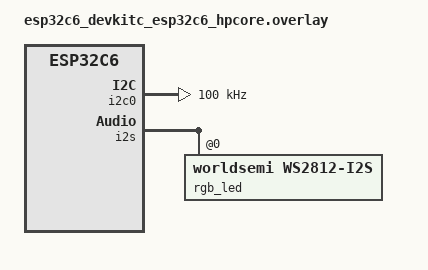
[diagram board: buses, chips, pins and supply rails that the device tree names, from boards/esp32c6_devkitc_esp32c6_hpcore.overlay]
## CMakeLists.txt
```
cmake_minimum_required(VERSION 3.20.0)

find_package(Zephyr REQUIRED HINTS $ENV{ZEPHYR_BASE})

project(mqtt_bme680_bsec)


target_sources(app PRIVATE
    src/main.c
    src/wifi_config.c
    src/sensor_bme680.c
    src/bsec_storage.c

    src/wifi_manager.c
    src/mqtt_manager.c

    external/bme68x/bme68x.c
    external/bsec/bsec_iaq.c
)


target_include_directories(app PRIVATE
    src
    external/bme68x
    external/bsec
)


add_library(bsec STATIC IMPORTED GLOBAL)

set_target_properties(bsec PROPERTIES
    IMPORTED_LOCATION
    ${CMAKE_CURRENT_SOURCE_DIR}/external/bsec/libalgobsec.a
)


target_link_libraries(app PUBLIC bsec)
```

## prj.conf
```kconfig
CONFIG_I2C=y

CONFIG_FLASH=y
CONFIG_FLASH_MAP=y
CONFIG_NVS=y

CONFIG_SETTINGS=y
CONFIG_SETTINGS_NVS=y

CONFIG_SHELL=y
CONFIG_SHELL_BACKEND_SERIAL=y
CONFIG_SHELL_BACKEND_DUMMY=n

CONFIG_SERIAL=y
CONFIG_CONSOLE=y
CONFIG_UART_CONSOLE=y

CONFIG_NETWORKING=y

CONFIG_WIFI=y
CONFIG_NET_L2_ETHERNET=y

CONFIG_NET_IPV4=y
CONFIG_NET_UDP=y
CONFIG_NET_TCP=y
CONFIG_NET_DHCPV4=y
CONFIG_NET_ARP=y

CONFIG_DNS_RESOLVER=y

CONFIG_NET_MGMT=y
CONFIG_NET_MGMT_EVENT=y
CONFIG_NET_MGMT_EVENT_STACK_SIZE=2048

CONFIG_NET_CONNECTION_MANAGER=y

CONFIG_NET_SOCKETS=y
CONFIG_NET_SOCKETS_SOCKOPT_TLS=y

CONFIG_NET_SOCKETS_TLS_CONNECT_TIMEOUT=30000
CONFIG_POSIX_API=y

CONFIG_MQTT_LIB=y
CONFIG_MQTT_LIB_TLS=y

CONFIG_TLS_CREDENTIALS=y

CONFIG_MBEDTLS=y

CONFIG_MBEDTLS_ENABLE_HEAP=y
CONFIG_MBEDTLS_HEAP_SIZE=60000

CONFIG_MBEDTLS_BASE64_C=y
CONFIG_MBEDTLS_PEM_PARSE_C=y
CONFIG_MBEDTLS_PEM_WRITE_C=y

CONFIG_MBEDTLS_ASN1_PARSE_C=y
CONFIG_MBEDTLS_PK_PARSE_C=y

CONFIG_MBEDTLS_X509_USE_C=y
CONFIG_MBEDTLS_X509_CRT_PARSE_C=y
CONFIG_MBEDTLS_SSL_SERVER_NAME_INDICATION=y
CONFIG_MBEDTLS_SSL_PROTO_TLS1_2=y

CONFIG_PSA_WANT_ALG_SHA_256=y
CONFIG_PSA_WANT_ALG_SHA_384=y

CONFIG_PSA_WANT_ALG_ECDSA=y
CONFIG_PSA_WANT_ALG_ECDH=y

CONFIG_PSA_WANT_ECC_SECP_R1_256=y
CONFIG_PSA_WANT_ECC_SECP_R1_384=y

CONFIG_PSA_WANT_KEY_TYPE_ECC_PUBLIC_KEY=y
CONFIG_PSA_WANT_KEY_TYPE_ECC_KEY_PAIR_GENERATE=y

CONFIG_PSA_WANT_KEY_TYPE_RSA_PUBLIC_KEY=y
CONFIG_PSA_WANT_KEY_TYPE_RSA_KEY_PAIR_IMPORT=y
CONFIG_PSA_WANT_ALG_RSA_PKCS1V15_SIGN=y

CONFIG_MBEDTLS_CIPHERSUITE_TLS_ECDHE_ECDSA_WITH_AES_256_GCM_SHA384=y

CONFIG_MBEDTLS_SSL_IN_CONTENT_LEN=16384
CONFIG_MBEDTLS_SSL_OUT_CONTENT_LEN=16384


CONFIG_SNTP=y
CONFIG_MAIN_STACK_SIZE=8192

CONFIG_HEAP_MEM_POOL_SIZE=16384
CONFIG_SYSTEM_WORKQUEUE_STACK_SIZE=4096

CONFIG_NET_PKT_RX_COUNT=16
CONFIG_NET_PKT_TX_COUNT=16

CONFIG_NET_BUF_RX_COUNT=32
CONFIG_NET_BUF_TX_COUNT=32

CONFIG_PRINTK=y
CONFIG_NET_LOG=y

CONFIG_LED_STRIP=y
CONFIG_I2S=y
CONFIG_DMA=y

CONFIG_JSON_LIBRARY=y
```

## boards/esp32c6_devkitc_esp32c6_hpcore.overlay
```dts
#include <zephyr/dt-bindings/led/led.h>
#include <zephyr/dt-bindings/pinctrl/esp32c6-pinctrl.h>

/ {
    aliases {
        bme680i2c = &i2c0;
        led-strip = &rgb_led;
    };
};


&pinctrl {

    i2c0_default: i2c0_default {
        group1 {
            pinmux = <I2C0_SDA_GPIO6>,
                     <I2C0_SCL_GPIO7>;
        };
    };

    i2s_ws2812_default: i2s_ws2812_default {
        group1 {
            pinmux = <I2S_O_SD_GPIO8>;
            output-enable;
        };
    };
};


&i2c0 {

    status = "okay";

    pinctrl-0 = <&i2c0_default>;
    pinctrl-names = "default";

    clock-frequency = <I2C_BITRATE_STANDARD>;
};


&i2s {

    status = "okay";

    pinctrl-0 = <&i2s_ws2812_default>;
    pinctrl-names = "default";

    dmas = <&dma 3>;
    dma-names = "tx";

    rgb_led: ws2812@0 {
        compatible = "worldsemi,ws2812-i2s";
        reg = <0>;

        chain-length = <1>;

        color-mapping = <LED_COLOR_ID_GREEN
                         LED_COLOR_ID_RED
                         LED_COLOR_ID_BLUE>;

        reset-delay = <500>;
    };
};


&dma {
    status = "okay";
};
```

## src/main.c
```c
/*
 * Pombal IoT Workshop Demo
 *
 * ESP32-C6 + BME680 + Bosch BSEC + Zephyr RTOS
 *
 * This application demonstrates an IoT environmental monitoring node based on the ESP32-C6 and Bosch BME680 sensor.
 *
 * Features:
 * - BME680 environmental sensing over I2C
 * - Bosch BSEC air-quality processing
 * - BSEC state persistence using Zephyr Settings/NVS
 * - Wi-Fi connectivity with automatic reconnection
 * - MQTT communication over TLS
 * - JSON telemetry publishing
 *
 * Hardware:
 *
 *   BME680          ESP32-C6 DevKitC
 *   VCC/VIN   --->  3V3
 *   GND       --->  GND
 *   SDA       --->  GPIO6
 *   SCL       --->  GPIO7
 *
 *
 * Bosch BSEC dependency:
 * Bosch BSEC is required to build this project but is not distributed with the project.
 * It must be obtained separately from Bosch Sensortec and used according to the applicable Bosch license terms.
 */

#include <zephyr/settings/settings.h>
#include <zephyr/shell/shell.h>
#include <zephyr/kernel.h>
#include <zephyr/sys/printk.h>
#include <zephyr/device.h>
#include <zephyr/drivers/led_strip.h>
#include <zephyr/net/tls_credentials.h>
#include <zephyr/data/json.h>
#include <zephyr/sys/util.h>

#include <stdbool.h>
#include <stdint.h>
#include <stddef.h>
#include <string.h>
#include <errno.h>

#include "wifi_config.h"
#include "sensor_bme680.h"
#include "wifi_manager.h"
#include "mqtt_manager.h"
#include "ca_cert.h"
#include "app_secrets.h"


#define TLS_SEC_TAG_ID  1

#define MQTT_SENSOR_TOPIC APP_MQTT_PUBLISH_TOPIC
#define DEVICE_ID         APP_DEVICE_ID

#define RGB_LED_NODE DT_ALIAS(led_strip)

static const struct device *const rgb_led = DEVICE_DT_GET(RGB_LED_NODE);


static const mqtt_manager_config_t my_mqtt_config = {
    .broker_address = APP_MQTT_BROKER_ADDRESS,
    .broker_port = APP_MQTT_BROKER_PORT,
    .transport = MQTT_MANAGER_TRANSPORT_TLS,
    .client_id = APP_MQTT_CLIENT_ID,
    .username = APP_MQTT_USERNAME,
    .password = APP_MQTT_PASSWORD,
    .subscribe_topic = APP_MQTT_SUBSCRIBE_TOPIC,
    .keepalive = 60,
    .qos = MQTT_QOS_1_AT_LEAST_ONCE,
    .tls_sec_tag = TLS_SEC_TAG_ID
};

static int float_to_string(
    char *buffer,
    size_t buffer_size,
    float value,
    uint8_t decimals)
{
    int32_t multiplier = 1;

    for (uint8_t i = 0; i < decimals; i++) {
        multiplier *= 10;
    }

    float scaled_f = value * (float)multiplier;
    int32_t scaled;

    if (scaled_f >= 0.0f) {
        scaled = (int32_t)(scaled_f + 0.5f);
    } else {
        scaled = (int32_t)(scaled_f - 0.5f);
    }

    bool negative = (scaled < 0);

    if (negative) {
        scaled = -scaled;
    }

    int32_t whole = scaled / multiplier;
    int32_t fraction = scaled % multiplier;

    if (decimals == 0) {
        return snprintk(
            buffer,
            buffer_size,
            "%s%d",
            negative ? "-" : "",
            whole
        );
    }

    return snprintk(
        buffer,
        buffer_size,
        "%s%d.%0*d",
        negative ? "-" : "",
        whole,
        decimals,
        fraction
    );
}


static int create_sensor_json(
    char *json,
    size_t json_size,
    const struct sensor_bme680_data *data)
{
    char temperature[24];
    char humidity[24];
    char pressure[24];
    char iaq[24];
    char co2[24];
    char bvoc[24];

    float_to_string(
        temperature,
        sizeof(temperature),
        data->temperature,
        5
    );

    float_to_string(
        humidity,
        sizeof(humidity),
        data->humidity,
        5
    );

    float_to_string(
        pressure,
        sizeof(pressure),
        data->pressure,
        4
    );

    float_to_string(
        iaq,
        sizeof(iaq),
        data->iaq,
        2
    );

    float_to_string(
        co2,
        sizeof(co2),
        data->co2_equivalent,
        2
    );

    float_to_string(
        bvoc,
        sizeof(bvoc),
        data->breath_voc_equivalent,
        3
    );

    int len = snprintk(
        json,
        json_size,

        "{"
        "\"device\":\"%s\","
        "\"temperature_c\":%s,"
        "\"humidity_pct\":%s,"
        "\"pressure_kpa\":%s,"
        "\"iaq\":%s,"
        "\"iaq_accuracy\":%u,"
        "\"co2_equivalent_ppm\":%s,"
        "\"bvoc_equivalent_ppm\":%s"
        "}",

        DEVICE_ID,
        temperature,
        humidity,
        pressure,
        iaq,
        data->iaq_accuracy,
        co2,
        bvoc
    );

    if ((len < 0) ||
        ((size_t)len >= json_size)) {
        return -ENOMEM;
    }

    return len;
}


static void print_sensor_data(
    const struct sensor_bme680_data *data)
{
    char value[24];

    printk("\n");
    printk(
        "-------- BME680 / BSEC --------\n"
    );

    float_to_string(
        value,
        sizeof(value),
        data->temperature,
        2
    );

    printk(
        "Temperature comp: %s C\n",
        value
    );

    float_to_string(
        value,
        sizeof(value),
        data->pressure,
        3
    );

    printk(
        "Pressure        : %s kPa\n",
        value
    );

    float_to_string(
        value,
        sizeof(value),
        data->humidity,
        2
    );

    printk(
        "Humidity comp   : %s %%\n",
        value
    );

    float_to_string(
        value,
        sizeof(value),
        data->gas_resistance,
        0
    );

    printk(
        "Gas resistance  : %s ohm\n",
        value
    );

    printk("\n");

    float_to_string(
        value,
        sizeof(value),
        data->iaq,
        2
    );

    printk(
        "IAQ             : %s\n",
        value
    );

    printk(
        "IAQ accuracy    : %u (%s)\n",
        data->iaq_accuracy,
        sensor_bme680_iaq_status_text(data->iaq_accuracy)
    );

    float_to_string(
        value,
        sizeof(value),
        data->co2_equivalent,
        2
    );

    printk(
        "CO2 equivalent  : %s ppm\n",
        value
    );

    float_to_string(
        value,
        sizeof(value),
        data->breath_voc_equivalent,
        3
    );

    printk(
        "Breath VOC eq   : %s ppm\n",
        value
    );

    printk(
        "--------------------------------\n"
    );
}


static int cmd_sensor_status(
    const struct shell *sh,
    size_t argc,
    char **argv)
{
    ARG_UNUSED(argc);
    ARG_UNUSED(argv);

    struct sensor_bme680_data data;

    int ret = sensor_bme680_get_data(&data);

    if (ret != 0) {
        shell_error(
            sh,
            "Sensor data not available."
        );

        return ret;
    }

    print_sensor_data(&data);

    return 0;
}


SHELL_STATIC_SUBCMD_SET_CREATE(
    sub_sensor,

    SHELL_CMD(
        status,
        NULL,
        "Show current BME680/BSEC data",
        cmd_sensor_status
    ),

    SHELL_SUBCMD_SET_END
);


SHELL_CMD_REGISTER(
    sensor,
    &sub_sensor,
    "Sensor commands",
    NULL
);


struct rgb_command {
    int32_t r;
    int32_t g;
    int32_t b;
};


static const struct json_obj_descr rgb_command_descr[] = {
    JSON_OBJ_DESCR_PRIM(
        struct rgb_command,
        r,
        JSON_TOK_NUMBER
    ),

    JSON_OBJ_DESCR_PRIM(
        struct rgb_command,
        g,
        JSON_TOK_NUMBER
    ),

    JSON_OBJ_DESCR_PRIM(
        struct rgb_command,
        b,
        JSON_TOK_NUMBER
    ),
};


static void mqtt_message_received(
    const char *topic,
    const char *payload)
{
    struct rgb_command cmd = {0};
    struct led_rgb color = {0};
    int ret;

    printk(
        "[APP] MQTT RX topic: %s\n",
        topic
    );

    printk(
        "[APP] MQTT RX payload: %s\n",
        payload
    );

    char json_buf[128];

    size_t payload_len = strlen(payload);

    if (payload_len >= sizeof(json_buf)) {
        printk(
            "[APP] RGB JSON payload too long\n"
        );

        return;
    }

    memcpy(
        json_buf,
        payload,
        payload_len + 1
    );

    int64_t parsed_fields = json_obj_parse(
        json_buf,
        payload_len,
        rgb_command_descr,
        ARRAY_SIZE(rgb_command_descr),
        &cmd
    );

    if (parsed_fields < 0) {
        printk(
            "[APP] Invalid RGB JSON: %d\n",
            (int)parsed_fields
        );

        return;
    }

    const int64_t required_fields =
        (1LL << ARRAY_SIZE(rgb_command_descr)) - 1LL;

    if ((parsed_fields & required_fields) != required_fields) {
        printk(
            "[APP] RGB JSON must contain r, g and b\n"
        );

        return;
    }

    if ((cmd.r < 0) || (cmd.r > 255) ||
        (cmd.g < 0) || (cmd.g > 255) ||
        (cmd.b < 0) || (cmd.b > 255)) {

        printk(
            "[APP] RGB values out of range\n"
        );

        return;
    }

    color.r = (uint8_t)cmd.r;
    color.g = (uint8_t)cmd.g;
    color.b = (uint8_t)cmd.b;

    ret = led_strip_update_rgb(
        rgb_led,
        &color,
        1
    );

    if (ret != 0) {
        printk(
            "[APP] RGB LED update FAILED: %d\n",
            ret
        );

        return;
    }

    printk(
        "[APP] RGB LED -> R:%d G:%d B:%d\n",
        (int)cmd.r,
        (int)cmd.g,
        (int)cmd.b
    );
}


int main(void)
{
    int ret;

    ret = settings_subsys_init();

    if (ret != 0) {
        printk(
            "[APP] Settings initialization FAILED: %d\n",
            ret
        );

        return ret;
    }

    ret = wifi_config_init();

    if (ret != 0) {
        printk(
            "[APP] WiFi configuration initialization FAILED: %d\n",
            ret
        );

        return ret;
    }

    if (!device_is_ready(rgb_led)) {
        printk(
            "[APP] RGB LED device NOT READY\n"
        );

        return -ENODEV;
    }

    printk(
        "[APP] RGB LED READY\n"
    );

    struct led_rgb off = {
        .r = 0,
        .g = 0,
        .b = 0
    };

    ret = led_strip_update_rgb(
        rgb_led,
        &off,
        1
    );

    if (ret != 0) {
        printk(
            "[APP] RGB LED initialization FAILED: %d\n",
            ret
        );

        return ret;
    }

    printk("\n");

    printk(
        "========================================\n"
    );

    printk(
        " ESP32-C6 + BME680 + BSEC + WiFi + MQTT\n"
    );

    printk(
        "========================================\n"
    );

    ret = sensor_bme680_init();

    if (ret != 0) {
        printk(
            "[APP] BME680/BSEC initialization FAILED: %d\n",
            ret
        );

        return ret;
    }

    printk(
        "[APP] BME680/BSEC READY\n"
    );

    printk(
        "[APP] Starting WiFi manager...\n"
    );

    wifi_manager_init();

    if (my_mqtt_config.transport ==
        MQTT_MANAGER_TRANSPORT_TLS) {

        ret = tls_credential_add(
            TLS_SEC_TAG_ID,
            TLS_CREDENTIAL_CA_CERTIFICATE,
            ca_certificate,
            sizeof(ca_certificate)
        );

        if ((ret < 0) &&
            (ret != -EALREADY)) {

            printk(
                "[APP] Failed to add CA certificate: %d\n",
                ret
            );

            return ret;
        }

        printk(
            "[APP] CA certificate registered on tag %d\n",
            TLS_SEC_TAG_ID
        );
    }

    mqtt_manager_set_message_callback(
        mqtt_message_received
    );

    ret = mqtt_manager_init(
        &my_mqtt_config
    );

    if (ret != 0) {
        printk(
            "[APP] MQTT manager initialization FAILED: %d\n",
            ret
        );

        return ret;
    }

    printk(
        "[APP] MQTT manager started\n"
    );

    printk("\n");

    printk(
        "[APP] Application running...\n"
    );

    printk("\n");

    char json[512];

    while (1) {

        ret = sensor_bme680_update();

        if (ret < 0) {
            printk(
                "[APP] sensor_bme680_update ERROR: %d\n",
                ret
            );

            k_sleep(
                K_MSEC(500)
            );

            continue;
        }

        if (ret > 0) {

            struct sensor_bme680_data data;

            ret = sensor_bme680_get_data(&data);

            if (ret != 0) {
                printk(
                    "[APP] Sensor snapshot unavailable: %d\n",
                    ret
                );

                sensor_bme680_clear_new_data_flag();
                continue;
            }

            if (mqtt_manager_is_ready()) {

                int json_len =
                    create_sensor_json(
                        json,
                        sizeof(json),
                        &data
                    );

                if (json_len < 0) {

                    printk(
                        "[APP] JSON creation FAILED: %d\n",
                        json_len
                    );

                } else {

                    ret = mqtt_manager_publish(
                        MQTT_SENSOR_TOPIC,
                        json
                    );

                    if (ret != 0) {
                        printk(
                            "[APP] MQTT publish queue FAILED: %d\n",
                            ret
                        );
                    }
                }
            }

            sensor_bme680_clear_new_data_flag();
        }

        k_sleep(
            K_MSEC(20)
        );
    }

    return 0;
}
```

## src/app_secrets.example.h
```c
#ifndef APP_SECRETS_H_
#define APP_SECRETS_H_


#define APP_DEVICE_ID              "pombal-esp32-01"
#define APP_MQTT_BROKER_ADDRESS    "broker.example.com"
#define APP_MQTT_BROKER_PORT       8883
#define APP_MQTT_CLIENT_ID         APP_DEVICE_ID
#define APP_MQTT_USERNAME          "CHANGE_ME"
#define APP_MQTT_PASSWORD          "CHANGE_ME"
#define APP_MQTT_SUBSCRIBE_TOPIC   "zephyr/test"

#endif
```

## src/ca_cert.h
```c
#ifndef CA_CERTIFICATE_H_
#define CA_CERTIFICATE_H_

static const char ca_certificate[] =
"-----BEGIN CERTIFICATE-----\n"
"MIIFazCCA1OgAwIBAgIRAIIQz7DSQONZRGPgu2OCiwAwDQYJKoZIhvcNAQELBQAw\n"
"TzELMAkGA1UEBhMCVVMxKTAnBgNVBAoTIEludGVybmV0IFNlY3VyaXR5IFJlc2Vh\n"
"cmNoIEdyb3VwMRUwEwYDVQQDEwxJU1JHIFJvb3QgWDEwHhcNMTUwNjA0MTEwNDM4\n"
"WhcNMzUwNjA0MTEwNDM4WjBPMQswCQYDVQQGEwJVUzEpMCcGA1UEChMgSW50ZXJu\n"
"ZXQgU2VjdXJpdHkgUmVzZWFyY2ggR3JvdXAxFTATBgNVBAMTDElTUkcgUm9vdCBY\n"
"MTCCAiIwDQYJKoZIhvcNAQEBBQADggIPADCCAgoCggIBAK3oJHP0FDfzm54rVygc\n"
"h77ct984kIxuPOZXoHj3dcKi/vVqbvYATyjb3miGbESTtrFj/RQSa78f0uoxmyF+\n"
"0TM8ukj13Xnfs7j/EvEhmkvBioZxaUpmZmyPfjxwv60pIgbz5MDmgK7iS4+3mX6U\n"
"A5/TR5d8mUgjU+g4rk8Kb4Mu0UlXjIB0ttov0DiNewNwIRt18jA8+o+u3dpjq+sW\n"
"T8KOEUt+zwvo/7V3LvSye0rgTBIlDHCNAymg4VMk7BPZ7hm/ELNKjD+Jo2FR3qyH\n"
"B5T0Y3HsLuJvW5iB4YlcNHlsdu87kGJ55tukmi8mxdAQ4Q7e2RCOFvu396j3x+UC\n"
"B5iPNgiV5+I3lg02dZ77DnKxHZu8A/lJBdiB3QW0KtZB6awBdpUKD9jf1b0SHzUv\n"
"KBds0pjBqAlkd25HN7rOrFleaJ1/ctaJxQZBKT5ZPt0m9STJEadao0xAH0ahmbWn\n"
"OlFuhjuefXKnEgV4We0+UXgVCwOPjdAvBbI+e0ocS3MFEvzG6uBQE3xDk3SzynTn\n"
"jh8BCNAw1FtxNrQHusEwMFxIt4I7mKZ9YIqioymCzLq9gwQbooMDQaHWBfEbwrbw\n"
"qHyGO0aoSCqI3Haadr8faqU9GY/rOPNk3sgrDQoo//fb4hVC1CLQJ13hef4Y53CI\n"
"rU7m2Ys6xt0nUW7/vGT1M0NPAgMBAAGjQjBAMA4GA1UdDwEB/wQEAwIBBjAPBgNV\n"
"HRMBAf8EBTADAQH/MB0GA1UdDgQWBBR5tFnme7bl5AFzgAiIyBpY9umbbjANBgkq\n"
"hkiG9w0BAQsFAAOCAgEAVR9YqbyyqFDQDLHYGmkgJykIrGF1XIpu+ILlaS/V9lZL\n"
"ubhzEFnTIZd+50xx+7LSYK05qAvqFyFWhfFQDlnrzuBZ6brJFe+GnY+EgPbk6ZGQ\n"
"3BebYhtF8GaV0nxvwuo77x/Py9auJ/GpsMiu/X1+mvoiBOv/2X/qkSsisRcOj/KK\n"
"NFtY2PwByVS5uCbMiogziUwthDyC3+6WVwW6LLv3xLfHTjuCvjHIInNzktHCgKQ5\n"
"ORAzI4JMPJ+GslWYHb4phowim57iaztXOoJwTdwJx4nLCgdNbOhdjsnvzqvHu7Ur\n"
"TkXWStAmzOVyyghqpZXjFaH3pO3JLF+l+/+sKAIuvtd7u+Nxe5AW0wdeRlN8NwdC\n"
"jNPElpzVmbUq4JUagEiuTDkHzsxHpFKVK7q4+63SM1N95R1NbdWhscdCb+ZAJzVc\n"
"oyi3B43njTOQ5yOf+1CceWxG1bQVs5ZufpsMljq4Ui0/1lvh+wjChP4kqKOJ2qxq\n"
"4RgqsahDYVvTH9w7jXbyLeiNdd8XM2w9U/t7y0Ff/9yi0GE44Za4rF2LN9d11TPA\n"
"mRGunUHBcnWEvgJBQl9nJEiU0Zsnvgc/ubhPgXRR4Xq37Z0j4r7g1SgEEzwxA57d\n"
"emyPxgcYxn/eR44/KJ4EBs+lVDR3veyJm+kXQ99b21/+jh5Xos1AnX5iItreGCc=\n"
"-----END CERTIFICATE-----\n";

#endif
```

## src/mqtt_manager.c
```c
#include <zephyr/kernel.h>
#include <zephyr/sys/atomic.h>
#include <zephyr/sys/printk.h>
#include <zephyr/net/socket.h>
#include <zephyr/net/net_ip.h>
#include <zephyr/net/mqtt.h>
#include <zephyr/net/tls_credentials.h>

#include <string.h>
#include <errno.h>

#include "mqtt_manager.h"
#include "wifi_manager.h"

#define MQTT_THREAD_STACK_SIZE      4096
#define MQTT_THREAD_PRIORITY        7
#define MQTT_RECONNECT_DELAY_SEC    5
#define MQTT_CONNECT_TIMEOUT_MS     15000
#define MQTT_SUBACK_TIMEOUT_MS      10000
#define MQTT_RX_PAYLOAD_MAX         127
#define MQTT_RX_TOPIC_MAX           127
#define MQTT_DISCARD_CHUNK_SIZE     64
#define MQTT_RX_TIMEOUT_MS          5000
#define MQTT_RX_RETRY_MS            10

typedef struct {
    char topic[64];
    char payload[512];
} mqtt_msg_t;

K_MSGQ_DEFINE(mqtt_msgq, sizeof(mqtt_msg_t), 8, 4);

static struct mqtt_client client;
static struct sockaddr_storage broker;
static uint8_t rx_buffer[1024];
static uint8_t tx_buffer[1024];
static struct mqtt_utf8 mqtt_user;
static struct mqtt_utf8 mqtt_pass;
static mqtt_manager_config_t mqtt_cfg;
static struct zsock_pollfd fds[1];
static atomic_t mqtt_state = ATOMIC_INIT(MQTT_STATE_DISCONNECTED);
static atomic_t reset_requested = ATOMIC_INIT(0);
static int64_t state_since_ms;
static uint16_t global_message_id;
static uint16_t subscription_message_id;
static bool client_active;
static mqtt_manager_message_cb_t message_callback;

#if defined(CONFIG_MQTT_LIB_TLS)
static sec_tag_t secure_tag_list[1];
#endif

static int connect_to_broker(void);
static int subscribe_topic(void);

static mqtt_manager_state_t get_state(void)
{
    return (mqtt_manager_state_t)atomic_get(&mqtt_state);
}

static void set_state(mqtt_manager_state_t state)
{
    atomic_set(&mqtt_state, (atomic_val_t)state);
    state_since_ms = k_uptime_get();
}

static uint16_t next_message_id(void)
{
    global_message_id++;

    if (global_message_id == 0U) {
        global_message_id = 1U;
    }

    return global_message_id;
}

static void request_reset(void)
{
    atomic_set(&reset_requested, 1);
}

static void mqtt_cleanup(void)
{
    if (client_active) {
        int ret = mqtt_abort(&client);

        if ((ret != 0) && (ret != -ENOTCONN)) {
            printk("[MQTT MGMT] mqtt_abort returned: %d\n", ret);
        }

        client_active = false;
    }

    fds[0].fd = -1;
    fds[0].events = 0;
    fds[0].revents = 0;

    k_msgq_purge(&mqtt_msgq);
}

static int read_publish_payload_until(
    struct mqtt_client *cl, uint8_t *buffer, size_t length,
    int64_t deadline_ms)
{
    size_t received = 0U;

    while (received < length) {
        int64_t remaining_ms = deadline_ms - k_uptime_get();

        if (remaining_ms <= 0) {
            return -ETIMEDOUT;
        }

        int ret = mqtt_read_publish_payload(cl, buffer + received,
                                            length - received);

        if (ret > 0) {
            received += (size_t)ret;
            continue;
        }

        if (ret == 0) {
            return -ENOTCONN;
        }

        if ((ret != -EAGAIN) && (ret != -EWOULDBLOCK)) {
            return ret;
        }

        remaining_ms = deadline_ms - k_uptime_get();
        if (remaining_ms <= 0) {
            return -ETIMEDOUT;
        }

        k_sleep(K_MSEC(MIN(remaining_ms, (int64_t)MQTT_RX_RETRY_MS)));
    }

    return 0;
}

static int discard_publish_payload(
    struct mqtt_client *cl, size_t length, int64_t deadline_ms)
{
    uint8_t discard[MQTT_DISCARD_CHUNK_SIZE];
    size_t remaining = length;

    while (remaining > 0U) {
        size_t chunk = MIN(remaining, sizeof(discard));
        int ret = read_publish_payload_until(cl, discard, chunk, deadline_ms);

        if (ret != 0) {
            return ret;
        }

        remaining -= chunk;
    }

    return 0;
}

static int acknowledge_incoming_publish(
    struct mqtt_client *cl,
    const struct mqtt_publish_param *pub)
{
    if (pub->message.topic.qos != MQTT_QOS_1_AT_LEAST_ONCE) {
        return 0;
    }

    struct mqtt_puback_param ack = {
        .message_id = pub->message_id
    };

    int ret = mqtt_publish_qos1_ack(cl, &ack);

    if (ret != 0) {
        printk("[MQTT MGMT] Failed to send PUBACK: %d\n", ret);
    }

    return ret;
}

static int handle_incoming_publish(
    struct mqtt_client *cl,
    const struct mqtt_publish_param *pub)
{
    uint8_t payload[MQTT_RX_PAYLOAD_MAX + 1U];
    char topic[MQTT_RX_TOPIC_MAX + 1U];
    size_t payload_len = pub->message.payload.len;
    size_t topic_len = pub->message.topic.topic.size;
    int64_t deadline_ms = k_uptime_get() + MQTT_RX_TIMEOUT_MS;
    int ret;

    if (payload_len > MQTT_RX_PAYLOAD_MAX) {
        ret = discard_publish_payload(cl, payload_len, deadline_ms);

        if (ret != 0) {
            printk("[MQTT MGMT] Failed to discard oversized payload: %d\n", ret);
            return ret;
        }

        printk("[MQTT MGMT] RX payload too large (%u bytes), discarded\n",
               (unsigned int)payload_len);

        return acknowledge_incoming_publish(cl, pub);
    }

    if (payload_len > 0U) {
        ret = read_publish_payload_until(cl, payload, payload_len, deadline_ms);

        if (ret != 0) {
            printk("[MQTT MGMT] Failed to read publish payload: %d\n", ret);
            return ret;
        }
    }

    payload[payload_len] = '\0';

    if (topic_len > MQTT_RX_TOPIC_MAX) {
        printk("[MQTT MGMT] RX topic too long (%u bytes), message ignored\n",
               (unsigned int)topic_len);

        return acknowledge_incoming_publish(cl, pub);
    }

    memcpy(topic, pub->message.topic.topic.utf8, topic_len);
    topic[topic_len] = '\0';

    printk("[MQTT MGMT] RX Topic: %s, Payload: %s\n", topic, payload);

    if (message_callback != NULL) {
        message_callback(topic, (const char *)payload);
    }

    return acknowledge_incoming_publish(cl, pub);
}

static void mqtt_evt_handler(
    struct mqtt_client *const cl,
    const struct mqtt_evt *evt)
{
    switch (evt->type) {
    case MQTT_EVT_CONNACK:
        if (evt->result == 0) {
            set_state(MQTT_STATE_CONNECTED);
            printk("[MQTT MGMT] CONNACK received. Subscribing...\n");

            int ret = subscribe_topic();

            if (ret != 0) {
                printk("[MQTT MGMT] Subscribe failed (%d)\n", ret);
                request_reset();
            }
        } else {
            printk("[MQTT MGMT] CONNACK error: %d\n", evt->result);
            request_reset();
        }
        break;

    case MQTT_EVT_SUBACK:
        if (evt->result != 0) {
            printk("[MQTT MGMT] SUBACK error: %d\n", evt->result);
            request_reset();
            break;
        }

        if (evt->param.suback.message_id != subscription_message_id) {
            printk("[MQTT MGMT] Unexpected SUBACK message id: %u\n",
                   evt->param.suback.message_id);
            request_reset();
            break;
        }

        if ((evt->param.suback.return_codes.data == NULL) ||
            (evt->param.suback.return_codes.len == 0U) ||
            (evt->param.suback.return_codes.data[0] == MQTT_SUBACK_FAILURE)) {
            printk("[MQTT MGMT] Subscription rejected by broker\n");
            request_reset();
            break;
        }

        set_state(MQTT_STATE_READY);
        printk("[MQTT MGMT] SUBACK received. State -> READY\n");
        break;

    case MQTT_EVT_PUBLISH:
        if (handle_incoming_publish(cl, &evt->param.publish) != 0) {
            request_reset();
        }
        break;

    case MQTT_EVT_PUBACK:
        if (evt->result != 0) {
            printk("[MQTT MGMT] PUBACK error from broker: %d\n", evt->result);
        }
        break;

    case MQTT_EVT_PINGRESP:
        break;

    case MQTT_EVT_DISCONNECT:
        client_active = false;
        fds[0].fd = -1;
        fds[0].events = 0;
        fds[0].revents = 0;
        k_msgq_purge(&mqtt_msgq);
        set_state(MQTT_STATE_DISCONNECTED);
        printk("[MQTT MGMT] Disconnected (reason: %d)\n", evt->result);
        break;

    default:
        break;
    }
}

static int broker_init(void)
{
    struct zsock_addrinfo hints = {0};
    struct zsock_addrinfo *res = NULL;
    char port_str[6];

    hints.ai_family = AF_INET;
    hints.ai_socktype = SOCK_STREAM;

    snprintk(port_str, sizeof(port_str), "%u", mqtt_cfg.broker_port);

    printk("[MQTT MGMT] Resolving broker via DNS: %s:%s\n",
           mqtt_cfg.broker_address,
           port_str);

    int ret = zsock_getaddrinfo(
        mqtt_cfg.broker_address,
        port_str,
        &hints,
        &res
    );

    if (ret != 0) {
        printk("[MQTT MGMT] DNS resolution failed: %d\n", ret);
        return ret;
    }

    if ((res == NULL) || (res->ai_addrlen > sizeof(broker))) {
        if (res != NULL) {
            zsock_freeaddrinfo(res);
        }

        return -EOVERFLOW;
    }

    memset(&broker, 0, sizeof(broker));
    memcpy(&broker, res->ai_addr, res->ai_addrlen);
    zsock_freeaddrinfo(res);

    printk("[MQTT MGMT] Broker resolved successfully.\n");
    return 0;
}

static int mqtt_setup(void)
{
    mqtt_client_init(&client);

    client.broker = &broker;
    client.evt_cb = mqtt_evt_handler;
    client.client_id.utf8 = (uint8_t *)mqtt_cfg.client_id;
    client.client_id.size = strlen(mqtt_cfg.client_id);

    if (mqtt_cfg.username != NULL) {
        mqtt_user.utf8 = (uint8_t *)mqtt_cfg.username;
        mqtt_user.size = strlen(mqtt_cfg.username);
        client.user_name = &mqtt_user;
    } else {
        client.user_name = NULL;
    }

    if (mqtt_cfg.password != NULL) {
        mqtt_pass.utf8 = (uint8_t *)mqtt_cfg.password;
        mqtt_pass.size = strlen(mqtt_cfg.password);
        client.password = &mqtt_pass;
    } else {
        client.password = NULL;
    }

    client.protocol_version = MQTT_VERSION_3_1_1;
    client.clean_session = 1U;
    client.keepalive = mqtt_cfg.keepalive;
    client.rx_buf = rx_buffer;
    client.rx_buf_size = sizeof(rx_buffer);
    client.tx_buf = tx_buffer;
    client.tx_buf_size = sizeof(tx_buffer);

    if (mqtt_cfg.transport == MQTT_MANAGER_TRANSPORT_TLS) {
#if defined(CONFIG_MQTT_LIB_TLS)
        secure_tag_list[0] = mqtt_cfg.tls_sec_tag;

        client.transport.type = MQTT_TRANSPORT_SECURE;
        client.transport.tls.config.peer_verify = TLS_PEER_VERIFY_REQUIRED;
        client.transport.tls.config.sec_tag_list = secure_tag_list;
        client.transport.tls.config.sec_tag_count = 1;
        client.transport.tls.config.hostname = mqtt_cfg.broker_address;
#else
        printk("[MQTT MGMT] ERROR: TLS requested but CONFIG_MQTT_LIB_TLS is disabled\n");
        return -ENOTSUP;
#endif
    } else {
        client.transport.type = MQTT_TRANSPORT_NON_SECURE;
    }

    return 0;
}

static int connect_to_broker(void)
{
    int ret = broker_init();

    if (ret != 0) {
        return ret;
    }

    ret = mqtt_setup();

    if (ret != 0) {
        return ret;
    }

    ret = mqtt_connect(&client);

    if (ret != 0) {
        printk("[MQTT MGMT] mqtt_connect failed: %d\n", ret);
        return ret;
    }

    client_active = true;

#if defined(CONFIG_MQTT_LIB_TLS)
    if (client.transport.type == MQTT_TRANSPORT_SECURE) {
        fds[0].fd = client.transport.tls.sock;
    } else {
        fds[0].fd = client.transport.tcp.sock;
    }
#else
    fds[0].fd = client.transport.tcp.sock;
#endif

    fds[0].events = ZSOCK_POLLIN;
    fds[0].revents = 0;

    printk("[MQTT MGMT] Connection initiated. Waiting for CONNACK...\n");
    return 0;
}

static int subscribe_topic(void)
{
    struct mqtt_topic topic = {
        .topic = {
            .utf8 = (uint8_t *)mqtt_cfg.subscribe_topic,
            .size = strlen(mqtt_cfg.subscribe_topic),
        },
        .qos = mqtt_cfg.qos,
    };

    subscription_message_id = next_message_id();

    struct mqtt_subscription_list list = {
        .list = &topic,
        .list_count = 1,
        .message_id = subscription_message_id,
    };

    return mqtt_subscribe(&client, &list);
}

static int execute_publish(const char *topic, const char *payload)
{
    struct mqtt_publish_param param = {0};

    param.message.topic.topic.utf8 = (uint8_t *)topic;
    param.message.topic.topic.size = strlen(topic);
    param.message.topic.qos = mqtt_cfg.qos;
    param.message.payload.data = (uint8_t *)payload;
    param.message.payload.len = strlen(payload);
    param.message_id =
        (mqtt_cfg.qos == MQTT_QOS_0_AT_MOST_ONCE) ? 0U : next_message_id();
    param.dup_flag = 0U;
    param.retain_flag = 0U;

    return mqtt_publish(&client, &param);
}

bool mqtt_manager_is_ready(void)
{
    return (get_state() == MQTT_STATE_READY);
}

void mqtt_manager_set_message_callback(mqtt_manager_message_cb_t callback)
{
    message_callback = callback;
}

mqtt_manager_state_t mqtt_manager_get_state(void)
{
    return get_state();
}

int mqtt_manager_publish(const char *topic, const char *payload)
{
    if ((topic == NULL) || (payload == NULL)) {
        return -EINVAL;
    }

    if (get_state() != MQTT_STATE_READY) {
        return -ENOTCONN;
    }

    size_t topic_len = strlen(topic);
    size_t payload_len = strlen(payload);

    if ((topic_len == 0U) || (topic_len >= sizeof(((mqtt_msg_t *)0)->topic))) {
        return -EMSGSIZE;
    }

    if (payload_len >= sizeof(((mqtt_msg_t *)0)->payload)) {
        return -EMSGSIZE;
    }

    mqtt_msg_t msg;

    memcpy(msg.topic, topic, topic_len + 1U);
    memcpy(msg.payload, payload, payload_len + 1U);

    return k_msgq_put(&mqtt_msgq, &msg, K_NO_WAIT);
}

static bool state_timeout_expired(mqtt_manager_state_t state)
{
    int64_t elapsed = k_uptime_get() - state_since_ms;

    if (state == MQTT_STATE_CONNECTING) {
        return elapsed >= MQTT_CONNECT_TIMEOUT_MS;
    }

    if (state == MQTT_STATE_CONNECTED) {
        return elapsed >= MQTT_SUBACK_TIMEOUT_MS;
    }

    return false;
}

static void mqtt_manager_thread(void *p1, void *p2, void *p3)
{
    ARG_UNUSED(p1);
    ARG_UNUSED(p2);
    ARG_UNUSED(p3);

    mqtt_msg_t outbound_msg;

    while (1) {
        if (!wifi_manager_is_ready()) {
            if ((get_state() != MQTT_STATE_DISCONNECTED) || client_active) {
                printk("[MQTT MGMT] WiFi lost. Resetting state...\n");
                mqtt_cleanup();
                set_state(MQTT_STATE_DISCONNECTED);
            }

            k_sleep(K_SECONDS(2));
            continue;
        }

        mqtt_manager_state_t state = get_state();

        if (state == MQTT_STATE_DISCONNECTED) {
            printk("[MQTT MGMT] Connecting to broker...\n");
            set_state(MQTT_STATE_CONNECTING);

            if (connect_to_broker() != 0) {
                mqtt_cleanup();
                set_state(MQTT_STATE_DISCONNECTED);
                k_sleep(K_SECONDS(MQTT_RECONNECT_DELAY_SEC));
                continue;
            }

            /*
             * DNS resolution and TCP/TLS setup can take a while.
             * Start the CONNACK timeout only after mqtt_connect()
             * has successfully initiated the MQTT connection.
             */
            set_state(MQTT_STATE_CONNECTING);
            continue;
        }

        if (state_timeout_expired(state)) {
            printk("[MQTT MGMT] State timeout while waiting for %s\n",
                   state == MQTT_STATE_CONNECTING ? "CONNACK" : "SUBACK");
            mqtt_cleanup();
            set_state(MQTT_STATE_DISCONNECTED);
            k_sleep(K_SECONDS(MQTT_RECONNECT_DELAY_SEC));
            continue;
        }

        int poll_ret = zsock_poll(fds, 1, 50);

        if ((poll_ret < 0) ||
            (fds[0].revents & (ZSOCK_POLLERR | ZSOCK_POLLHUP | ZSOCK_POLLNVAL))) {
            printk("[MQTT MGMT] Socket dead or disconnected. State -> DISCONNECTED\n");
            mqtt_cleanup();
            set_state(MQTT_STATE_DISCONNECTED);
            continue;
        }

        if ((poll_ret > 0) && (fds[0].revents & ZSOCK_POLLIN)) {
            int input_ret = mqtt_input(&client);

            if (input_ret != 0) {
                printk("[MQTT MGMT] mqtt_input failed (%d). State -> DISCONNECTED\n",
                       input_ret);
                mqtt_cleanup();
                set_state(MQTT_STATE_DISCONNECTED);
                continue;
            }
        }

        if (atomic_cas(&reset_requested, 1, 0)) {
            mqtt_cleanup();
            set_state(MQTT_STATE_DISCONNECTED);
            continue;
        }

        if (get_state() == MQTT_STATE_READY) {
            if (k_msgq_get(&mqtt_msgq, &outbound_msg, K_NO_WAIT) == 0) {
                int pub_ret = execute_publish(
                    outbound_msg.topic,
                    outbound_msg.payload
                );

                if (pub_ret != 0) {
                    printk("[MQTT MGMT] Publish failed: %d\n", pub_ret);
                }
            }

            int live_ret = mqtt_live(&client);

            if ((live_ret != 0) && (live_ret != -EAGAIN)) {
                printk("[MQTT MGMT] Keep-alive error (%d). State -> DISCONNECTED\n",
                       live_ret);
                mqtt_cleanup();
                set_state(MQTT_STATE_DISCONNECTED);
                continue;
            }
        }

        k_sleep(K_MSEC(50));
    }
}

K_THREAD_STACK_DEFINE(mqtt_stack, MQTT_THREAD_STACK_SIZE);
static struct k_thread mqtt_thread_data;

int mqtt_manager_init(const mqtt_manager_config_t *cfg)
{
    if (cfg == NULL) {
        return -EINVAL;
    }

    if ((cfg->broker_port == 0U) ||
        (cfg->keepalive == 0U) ||
        (cfg->broker_address == NULL) ||
        (cfg->client_id == NULL) ||
        (cfg->subscribe_topic == NULL)) {
        return -EINVAL;
    }

    if ((cfg->qos != MQTT_QOS_0_AT_MOST_ONCE) &&
        (cfg->qos != MQTT_QOS_1_AT_LEAST_ONCE)) {
        printk("[MQTT MGMT] Only QoS 0 and QoS 1 are supported by this manager.\n");
        return -ENOTSUP;
    }

    if (cfg->transport == MQTT_MANAGER_TRANSPORT_TLS) {
        if (cfg->tls_sec_tag < 0) {
            printk("[MQTT MGMT] TLS transport selected but tls_sec_tag is invalid.\n");
            return -EINVAL;
        }

#if !defined(CONFIG_MQTT_LIB_TLS)
        printk("[MQTT MGMT] TLS requested but CONFIG_MQTT_LIB_TLS is disabled.\n");
        return -ENOTSUP;
#endif
    }

    mqtt_cfg = *cfg;
    global_message_id = 0U;
    subscription_message_id = 0U;
    client_active = false;
    fds[0].fd = -1;
    fds[0].events = 0;
    fds[0].revents = 0;
    atomic_set(&reset_requested, 0);
    set_state(MQTT_STATE_DISCONNECTED);
    k_msgq_purge(&mqtt_msgq);

    k_thread_create(
        &mqtt_thread_data,
        mqtt_stack,
        K_THREAD_STACK_SIZEOF(mqtt_stack),
        mqtt_manager_thread,
        NULL,
        NULL,
        NULL,
        MQTT_THREAD_PRIORITY,
        0,
        K_NO_WAIT
    );

    k_thread_name_set(&mqtt_thread_data, "mqtt_manager");

    printk("[MQTT MGMT] Initialized. Transport: %s, QoS: %d\n",
           cfg->transport == MQTT_MANAGER_TRANSPORT_TLS ? "TLS" : "TCP",
           cfg->qos);

    return 0;
}
```

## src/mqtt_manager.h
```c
#ifndef MQTT_MANAGER_H_
#define MQTT_MANAGER_H_

#include <stdbool.h>
#include <stdint.h>

#include <zephyr/net/mqtt.h>
#include <zephyr/net/tls_credentials.h>

#ifdef __cplusplus
extern "C" {
#endif

typedef enum {
    MQTT_STATE_DISCONNECTED,
    MQTT_STATE_CONNECTING,
    MQTT_STATE_CONNECTED,
    MQTT_STATE_READY
} mqtt_manager_state_t;

typedef enum {
    MQTT_MANAGER_TRANSPORT_TCP,
    MQTT_MANAGER_TRANSPORT_TLS
} mqtt_manager_transport_t;

typedef struct {
    const char *broker_address;
    uint16_t broker_port;
    mqtt_manager_transport_t transport;

    const char *client_id;
    const char *username;
    const char *password;
    const char *subscribe_topic;

    uint16_t keepalive;
    enum mqtt_qos qos;  
    sec_tag_t tls_sec_tag;
} mqtt_manager_config_t;

typedef void (*mqtt_manager_message_cb_t)(const char *topic,
                                          const char *payload);

void mqtt_manager_set_message_callback(mqtt_manager_message_cb_t callback);

int mqtt_manager_init(const mqtt_manager_config_t *cfg);

bool mqtt_manager_is_ready(void);
mqtt_manager_state_t mqtt_manager_get_state(void);

int mqtt_manager_publish(const char *topic, const char *payload);

#ifdef __cplusplus
}
#endif

#endif
```

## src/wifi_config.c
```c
#include "wifi_config.h"
#include "wifi_manager.h"

#include <zephyr/kernel.h>
#include <zephyr/settings/settings.h>
#include <zephyr/shell/shell.h>

#include <string.h>
#include <errno.h>


#define WIFI_SETTINGS_ROOT "wifi"

static char wifi_ssid[WIFI_CONFIG_SSID_MAX_LEN + 1];
static char wifi_password[WIFI_CONFIG_PASS_MAX_LEN + 1];
K_MUTEX_DEFINE(wifi_config_mutex);


static int wifi_settings_set(const char *name,
                             size_t len,
                             settings_read_cb read_cb,
                             void *cb_arg)
{
    const char *next;
    int ret;

    if (settings_name_steq(name, "ssid", &next) && !next) {

        if (len > WIFI_CONFIG_SSID_MAX_LEN) {
            return -EINVAL;
        }

        memset(wifi_ssid, 0, sizeof(wifi_ssid));

        ret = read_cb(cb_arg, wifi_ssid, len);
        if (ret < 0) {
            return ret;
        }

        if ((size_t)ret != len) {
            return -EIO;
        }

        wifi_ssid[len] = '\0';

        return 0;
    }

    if (settings_name_steq(name, "password", &next) && !next) {

        if (len > WIFI_CONFIG_PASS_MAX_LEN) {
            return -EINVAL;
        }

        memset(wifi_password, 0, sizeof(wifi_password));

        ret = read_cb(cb_arg, wifi_password, len);
        if (ret < 0) {
            return ret;
        }

        if ((size_t)ret != len) {
            return -EIO;
        }

        wifi_password[len] = '\0';

        return 0;
    }

    return -ENOENT;
}

SETTINGS_STATIC_HANDLER_DEFINE(
    wifi,
    WIFI_SETTINGS_ROOT,
    NULL,
    wifi_settings_set,
    NULL,
    NULL
);


static bool wifi_config_is_valid_locked(void)
{
    size_t ssid_len = strnlen(wifi_ssid, sizeof(wifi_ssid));
    size_t password_len = strnlen(wifi_password, sizeof(wifi_password));

    return (ssid_len > 0U) &&
           (ssid_len <= WIFI_CONFIG_SSID_MAX_LEN) &&
           (password_len >= 8U) &&
           (password_len <= WIFI_CONFIG_PASS_MAX_LEN);
}


int wifi_config_init(void)
{
    int ret;

    k_mutex_lock(&wifi_config_mutex, K_FOREVER);

    memset(wifi_ssid, 0, sizeof(wifi_ssid));
    memset(wifi_password, 0, sizeof(wifi_password));

    ret = settings_load_subtree(WIFI_SETTINGS_ROOT);

    if (ret != 0) {
        k_mutex_unlock(&wifi_config_mutex);
        printk("[WiFi Config] Failed to load settings: %d\n", ret);
        return ret;
    }

    bool valid = wifi_config_is_valid_locked();
    char ssid[WIFI_CONFIG_SSID_MAX_LEN + 1];

    if (valid) {
        memcpy(ssid, wifi_ssid, sizeof(ssid));
    }

    k_mutex_unlock(&wifi_config_mutex);

    if (valid) {
        printk("[WiFi Config] Configuration loaded\n");
        printk("[WiFi Config] SSID: %s\n", ssid);
    } else {
        printk("[WiFi Config] No WiFi configuration stored\n");
    }

    return 0;
}


bool wifi_config_is_valid(void)
{
    bool valid;

    k_mutex_lock(&wifi_config_mutex, K_FOREVER);
    valid = wifi_config_is_valid_locked();
    k_mutex_unlock(&wifi_config_mutex);

    return valid;
}


int wifi_config_get_credentials(
    char *ssid,
    size_t ssid_size,
    char *password,
    size_t password_size)
{
    if ((ssid == NULL) || (password == NULL) ||
        (ssid_size == 0U) || (password_size == 0U)) {
        return -EINVAL;
    }

    k_mutex_lock(&wifi_config_mutex, K_FOREVER);

    if (!wifi_config_is_valid_locked()) {
        k_mutex_unlock(&wifi_config_mutex);
        return -ENODATA;
    }

    size_t ssid_len = strnlen(wifi_ssid, sizeof(wifi_ssid));
    size_t password_len = strnlen(wifi_password, sizeof(wifi_password));

    if ((ssid_len + 1U > ssid_size) ||
        (password_len + 1U > password_size)) {
        k_mutex_unlock(&wifi_config_mutex);
        return -ENOSPC;
    }

    memcpy(ssid, wifi_ssid, ssid_len + 1U);
    memcpy(password, wifi_password, password_len + 1U);

    k_mutex_unlock(&wifi_config_mutex);

    return 0;
}



int wifi_config_save(const char *ssid, const char *password)
{
    size_t ssid_len;
    size_t password_len;
    int ret;

    if ((ssid == NULL) || (password == NULL)) {
        return -EINVAL;
    }

    ssid_len = strlen(ssid);
    password_len = strlen(password);

    if ((ssid_len == 0U) ||
        (ssid_len > WIFI_CONFIG_SSID_MAX_LEN)) {
        return -EINVAL;
    }

    if ((password_len < 8U) ||
        (password_len > WIFI_CONFIG_PASS_MAX_LEN)) {
        return -EINVAL;
    }

    k_mutex_lock(&wifi_config_mutex, K_FOREVER);

    ret = settings_save_one(
        "wifi/ssid",
        ssid,
        ssid_len
    );

    if (ret != 0) {
        k_mutex_unlock(&wifi_config_mutex);
        return ret;
    }

    ret = settings_save_one(
        "wifi/password",
        password,
        password_len
    );

    if (ret != 0) {
        k_mutex_unlock(&wifi_config_mutex);
        return ret;
    }

    memset(wifi_ssid, 0, sizeof(wifi_ssid));
    memset(wifi_password, 0, sizeof(wifi_password));

    memcpy(wifi_ssid, ssid, ssid_len);
    memcpy(wifi_password, password, password_len);

    k_mutex_unlock(&wifi_config_mutex);

    printk("[WiFi Config] Configuration saved\n");

    return 0;
}



int wifi_config_clear(void)
{
    int ret;

    k_mutex_lock(&wifi_config_mutex, K_FOREVER);

    ret = settings_delete("wifi/ssid");

    if ((ret != 0) && (ret != -ENOENT)) {
        k_mutex_unlock(&wifi_config_mutex);
        return ret;
    }

    ret = settings_delete("wifi/password");

    if ((ret != 0) && (ret != -ENOENT)) {
        k_mutex_unlock(&wifi_config_mutex);
        return ret;
    }

    memset(wifi_ssid, 0, sizeof(wifi_ssid));
    memset(wifi_password, 0, sizeof(wifi_password));

    k_mutex_unlock(&wifi_config_mutex);

    printk("[WiFi Config] Configuration cleared\n");

    return 0;
}



static int cmd_wifi_status(const struct shell *sh,
                           size_t argc,
                           char **argv)
{
    ARG_UNUSED(argc);
    ARG_UNUSED(argv);

    char ssid[WIFI_CONFIG_SSID_MAX_LEN + 1];
    char password[WIFI_CONFIG_PASS_MAX_LEN + 1];

    int ret = wifi_config_get_credentials(
        ssid,
        sizeof(ssid),
        password,
        sizeof(password)
    );

    shell_print(sh, "");
    shell_print(sh, "WiFi");
    shell_print(sh, "-----------");

    if (ret != 0) {
        shell_print(sh, "Configured : NO");
        shell_print(
            sh,
            "State      : %s",
            wifi_manager_state_to_string(
                wifi_manager_get_state()
            )
        );

        return 0;
    }

    shell_print(sh, "Configured : YES");
    shell_print(sh, "SSID       : %s", ssid);
    shell_print(sh, "Password   : ********");
    shell_print(
        sh,
        "State      : %s",
        wifi_manager_state_to_string(
            wifi_manager_get_state()
        )
    );

    return 0;
}



static int cmd_wifi_set(const struct shell *sh,
                        size_t argc,
                        char **argv)
{
    int ret;

    if (argc != 3) {

        shell_error(
            sh,
            "Usage: wifi set \"<ssid>\" \"<password>\""
        );

        return -EINVAL;
    }

    ret = wifi_config_save(argv[1], argv[2]);

    if (ret != 0) {

        shell_error(
            sh,
            "Failed to save WiFi configuration: %d",
            ret
        );

        return ret;
    }

    shell_print(sh, "WiFi configuration saved.");
    shell_print(sh, "SSID: %s", argv[1]);
    shell_print(sh, "Connecting...");

    ret = wifi_manager_reconnect();

    if (ret != 0) {

        shell_error(
            sh,
            "Failed to start WiFi reconnect: %d",
            ret
        );

        return ret;
    }

    return 0;
}


static int cmd_wifi_clear(const struct shell *sh,
                          size_t argc,
                          char **argv)
{
    int ret;

    ARG_UNUSED(argc);
    ARG_UNUSED(argv);

    ret = wifi_manager_disconnect();

    if ((ret != 0) && (ret != -ENOTCONN)) {

        shell_warn(
            sh,
            "WiFi disconnect returned: %d",
            ret
        );
    }

    ret = wifi_config_clear();

    if (ret != 0) {

        shell_error(
            sh,
            "Failed to clear WiFi configuration: %d",
            ret
        );

        return ret;
    }

    shell_print(sh, "WiFi configuration deleted.");
    shell_print(sh, "");
    shell_print(sh, "Configure a network with:");

    shell_print(
        sh,
        "wifi set \"<ssid>\" \"<password>\""
    );

    return 0;
}


static int cmd_wifi_reconnect(const struct shell *sh,
                              size_t argc,
                              char **argv)
{
    ARG_UNUSED(argc);
    ARG_UNUSED(argv);

    char ssid[WIFI_CONFIG_SSID_MAX_LEN + 1];
    char password[WIFI_CONFIG_PASS_MAX_LEN + 1];

    int ret = wifi_config_get_credentials(
        ssid,
        sizeof(ssid),
        password,
        sizeof(password)
    );

    if (ret != 0) {
        shell_error(
            sh,
            "No WiFi configuration stored."
        );

        return -ENOENT;
    }

    shell_print(
        sh,
        "Reconnecting to: %s",
        ssid
    );

    ret = wifi_manager_reconnect();

    if (ret != 0) {
        shell_error(
            sh,
            "Reconnect failed: %d",
            ret
        );

        return ret;
    }

    return 0;
}



SHELL_STATIC_SUBCMD_SET_CREATE(
    sub_wifi,

    SHELL_CMD(
        status,
        NULL,
        "Show WiFi status",
        cmd_wifi_status
    ),

    SHELL_CMD_ARG(
        set,
        NULL,
        "Set WiFi credentials: set \"<ssid>\" \"<password>\"",
        cmd_wifi_set,
        3,
        0
    ),

    SHELL_CMD(
        clear,
        NULL,
        "Delete stored WiFi credentials",
        cmd_wifi_clear
    ),

    SHELL_CMD(
        reconnect,
        NULL,
        "Reconnect WiFi",
        cmd_wifi_reconnect
    ),

    SHELL_SUBCMD_SET_END
);


SHELL_CMD_REGISTER(
    wifi,
    &sub_wifi,
    "WiFi configuration",
    NULL
);
```
